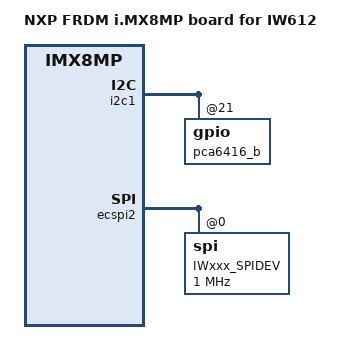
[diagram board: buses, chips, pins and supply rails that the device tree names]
// SPDX-License-Identifier: (GPL-2.0+ OR MIT)
/*
 * Copyright 2025 NXP
 */

#include "imx8mp-frdm.dts"

/ {
	// Patch for IW61x:
	// 1：ffu_gpio_irq (make GPIO_SPI_INT interruptible)
	// 2: make gpio IW61x_IND_RST_15_4 and IW61x_SPI_INT drivable from userspace
	// 3: enable ecspi2 for IWxxx_SPI and SPI 50µs interleaved
	// 4: set bt fw-init-baudrate to 3000000
	model = "NXP FRDM i.MX8MP board for IW612";
};

&i2c1 {
	pca6416_b: gpio@21 {
		gpio-line-names = "", "", "", "", "", "", "", "", "", "", "", "", "IWxxx_NB_IND_RST_15_4", "IWxxx_NB_SPI_INT";
	};
};

&ecspi2 {
	pinctrl-assert-gpios = <&pca6416_b 6 GPIO_ACTIVE_LOW>;

	spidev1: spi@0 {
		spi-max-frequency = <1000000>;
		spi-cs-inactive-delay-ns = <50000>;
		label="IWxxx_SPIDEV";
	};
};

&uart1 {
	bluetooth {
		fw-init-baudrate = <3000000>;
	};
};
